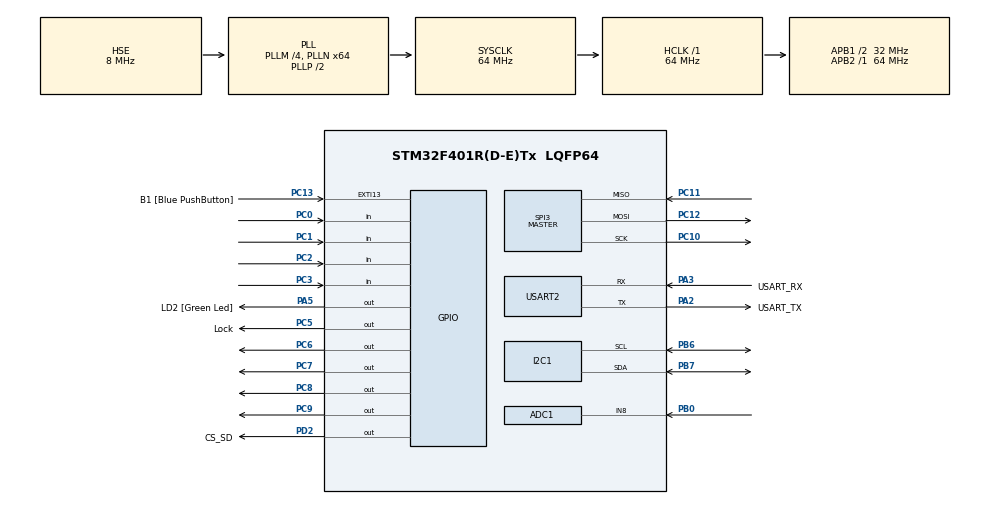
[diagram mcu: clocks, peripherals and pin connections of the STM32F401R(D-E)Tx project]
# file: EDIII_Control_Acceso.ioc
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ADC1.Channel-5\#ChannelRegularConversion=ADC_CHANNEL_8
ADC1.ClockPrescaler=ADC_CLOCK_SYNC_PCLK_DIV8
ADC1.ContinuousConvMode=ENABLE
ADC1.NbrOfConversionFlag=1
ADC1.Rank-5\#ChannelRegularConversion=1
ADC1.SamplingTime-5\#ChannelRegularConversion=ADC_SAMPLETIME_480CYCLES
ADC1.master=1
Dma.ADC1.0.Direction=DMA_PERIPH_TO_MEMORY
Dma.ADC1.0.FIFOMode=DMA_FIFOMODE_DISABLE
Dma.ADC1.0.Instance=DMA2_Stream0
Dma.ADC1.0.MemDataAlignment=DMA_MDATAALIGN_HALFWORD
Dma.ADC1.0.MemInc=DMA_MINC_ENABLE
Dma.ADC1.0.Mode=DMA_NORMAL
Dma.ADC1.0.PeriphDataAlignment=DMA_PDATAALIGN_HALFWORD
Dma.ADC1.0.PeriphInc=DMA_PINC_DISABLE
Dma.ADC1.0.Priority=DMA_PRIORITY_LOW
Dma.Request0=ADC1
FATFS._MAX_SS=4096
FATFS._USE_LFN=3
FREERTOS.INCLUDE_vTaskDelayUntil=1
FREERTOS.Tasks01=defaultTask,0,128,StartDefaultTask,Default,NULL,Dynamic,NULL,NULL
FREERTOS.configENABLE_FPU=1
I2C1.I2C_Mode=I2C_Fast
Mcu.Family=STM32F4
Mcu.Name=STM32F401R(D-E)Tx
Mcu.Package=LQFP64
NVIC.DMA2_Stream0_IRQn=true\:5\:0\:false\:false\:true\:true\:false\:true\:true
NVIC.PriorityGroup=NVIC_PRIORITYGROUP_4
NVIC.TIM2_IRQn=true\:15\:0\:false\:false\:true\:false\:false\:true\:true
NVIC.TimeBase=TIM2_IRQn
NVIC.TimeBaseIP=TIM2
PA13.GPIO_Label=TMS
PA13.Mode=Serial_Wire
PA13.Signal=SYS_JTMS-SWDIO
PA14.GPIO_Label=TCK
PA14.Mode=Serial_Wire
PA14.Signal=SYS_JTCK-SWCLK
PA2.GPIO_Label=USART_TX
PA2.GPIO_Mode=GPIO_MODE_AF_PP
PA2.GPIO_PuPd=GPIO_NOPULL
PA2.GPIO_Speed=GPIO_SPEED_FREQ_LOW
PA2.Mode=Asynchronous
PA2.Signal=USART2_TX
PA3.GPIO_Label=USART_RX
PA3.GPIO_Mode=GPIO_MODE_AF_PP
PA3.GPIO_PuPd=GPIO_NOPULL
PA3.GPIO_Speed=GPIO_SPEED_FREQ_LOW
PA3.Mode=Asynchronous
PA3.Signal=USART2_RX
PA5.GPIO_Label=LD2 [Green Led]
PA5.GPIO_Mode=GPIO_MODE_OUTPUT_PP
PA5.GPIO_PuPd=GPIO_NOPULL
PA5.GPIO_Speed=GPIO_SPEED_FREQ_LOW
PA5.Signal=GPIO_Output
PB0.Signal=ADCx_IN8
PB3.GPIO_Label=SWO
PB3.Signal=SYS_JTDO-SWO
PB6.Mode=I2C
PB6.Signal=I2C1_SCL
PB7.Mode=I2C
PB7.Signal=I2C1_SDA
PC0.GPIO_PuPd=GPIO_PULLDOWN
PC0.Signal=GPIO_Input
PC1.GPIO_PuPd=GPIO_PULLDOWN
PC1.Signal=GPIO_Input
PC10.Mode=Full_Duplex_Master
PC10.Signal=SPI3_SCK
PC11.Mode=Full_Duplex_Master
PC11.Signal=SPI3_MISO
PC12.Mode=Full_Duplex_Master
PC12.Signal=SPI3_MOSI
PC13-ANTI_TAMP.GPIO_Label=B1 [Blue PushButton]
PC13-ANTI_TAMP.GPIO_ModeDefaultEXTI=GPIO_MODE_IT_FALLING
PC13-ANTI_TAMP.GPIO_PuPd=GPIO_NOPULL
PC13-ANTI_TAMP.Signal=GPXTI13
PC14-OSC32_IN.Mode=LSE-External-Oscillator
PC14-OSC32_IN.Signal=RCC_OSC32_IN
PC15-OSC32_OUT.Mode=LSE-External-Oscillator
PC15-OSC32_OUT.Signal=RCC_OSC32_OUT
PC2.GPIO_PuPd=GPIO_PULLDOWN
PC2.Signal=GPIO_Input
PC3.GPIO_PuPd=GPIO_PULLDOWN
PC3.Signal=GPIO_Input
PC5.GPIO_Label=Lock
PC5.Signal=GPIO_Output
PC6.Signal=GPIO_Output
PC7.Signal=GPIO_Output
PC8.Signal=GPIO_Output
PC9.Signal=GPIO_Output
PD2.GPIO_Label=CS_SD
PD2.Signal=GPIO_Output
PH0\ -\ OSC_IN.Mode=HSE-External-Clock-Source
PH0\ -\ OSC_IN.Signal=RCC_OSC_IN
PH1\ -\ OSC_OUT.Mode=HSE-External-Clock-Source
PH1\ -\ OSC_OUT.Signal=RCC_OSC_OUT
ProjectManager.HeapSize=0x200
ProjectManager.StackSize=0x400
ProjectManager.TargetToolchain=STM32CubeIDE
RCC.48MHZClocksFreq_Value=18285714.285714287
RCC.AHBFreq_Value=64000000
RCC.APB1CLKDivider=RCC_HCLK_DIV2
RCC.APB1Freq_Value=32000000
RCC.APB1TimFreq_Value=64000000
RCC.APB2Freq_Value=64000000
RCC.APB2TimFreq_Value=64000000
RCC.CortexFreq_Value=64000000
RCC.HCLKFreq_Value=64000000
RCC.HSE_VALUE=8000000
RCC.HSI_VALUE=16000000
RCC.PLLM=4
RCC.PLLN=64
RCC.PLLQ=7
RCC.PLLSourceVirtual=RCC_PLLSOURCE_HSE
RCC.SYSCLKFreq_VALUE=64000000
RCC.SYSCLKSource=RCC_SYSCLKSOURCE_PLLCLK
RCC.VCOOutputFreq_Value=128000000
RTC.Date=6
RTC.Format=RTC_FORMAT_BIN
RTC.Hours=15
RTC.Month=RTC_MONTH_JULY
RTC.WeekDay=RTC_WEEKDAY_SATURDAY
RTC.Year=24
SH.ADCx_IN8.0=ADC1_IN8,IN8
SPI3.BaudRatePrescaler=SPI_BAUDRATEPRESCALER_8
SPI3.Direction=SPI_DIRECTION_2LINES
SPI3.Mode=SPI_MODE_MASTER
SPI3.VirtualType=VM_MASTER
USART2.VirtualMode=VM_ASYNC
VP_FATFS_VS_Generic.Mode=User_defined
VP_FREERTOS_VS_CMSIS_V1.Mode=CMSIS_V1
VP_RTC_VS_RTC_Activate.Mode=RTC_Enabled
VP_RTC_VS_RTC_Calendar.Mode=RTC_Calendar
VP_SYS_VS_tim2.Mode=TIM2
board=NUCLEO-F401RE

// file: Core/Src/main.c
/* USER CODE BEGIN Header */
/**
  ******************************************************************************
  * @file           : main.c
  * @brief          : Main program body
  ******************************************************************************
  * @attention
  *
  * Copyright (c) 2024 STMicroelectronics.
  * All rights reserved.
  *
  * This software is licensed under terms that can be found in the LICENSE file
  * in the root directory of this software component.
  * If no LICENSE file comes with this software, it is provided AS-IS.
  *
  ******************************************************************************
  */
/* USER CODE END Header */
#include "main.h"
#include "cmsis_os.h"
/* USER CODE BEGIN Includes */
#define ARM_MATH_CM4
#include "arm_math.h"
#include "display_functions.h"
#include "display_manager.h"
#include "input_sequence_scan.h"
#include "user_check_task.h"
/* USER CODE END Includes */

ADC_HandleTypeDef hadc1;
DMA_HandleTypeDef hdma_adc1;

I2C_HandleTypeDef hi2c1;

RTC_HandleTypeDef hrtc;

SPI_HandleTypeDef hspi3;

UART_HandleTypeDef huart2;

/* USER CODE BEGIN PV */
//QueueHandle_t uiQueue;
//QueueHandle_t sequenceQueue;
//QueueHandle_t lockQueue;
QueueHandle_t sequence_queue;
QueueHandle_t display_queue;
/* USER CODE END PV */

void SystemClock_Config(void);
static void MX_GPIO_Init(void);
static void MX_DMA_Init(void);
static void MX_USART2_UART_Init(void);
static void MX_I2C1_Init(void);
static void MX_SPI3_Init(void);
static void MX_RTC_Init(void);
static void MX_ADC1_Init(void);

/* USER CODE BEGIN PFP */
void idle_task(void *pvParameters);
/* USER CODE END PFP */

int main(void)
{

  /* MCU Configuration--------------------------------------------------------*/

  /* Reset of all peripherals, Initializes the Flash interface and the Systick. */
  HAL_Init();

  /* Configure the system clock */
  SystemClock_Config();

  /* Initialize all configured peripherals */
  MX_GPIO_Init();
  MX_DMA_Init();
  MX_USART2_UART_Init();
  MX_I2C1_Init();
  MX_SPI3_Init();
  MX_FATFS_Init();
  MX_RTC_Init();
  MX_ADC1_Init();

  /* USER CODE BEGIN RTOS_QUEUES */
  display_queue = xQueueCreate(1, sizeof(display_state_t));
  sequence_queue = xQueueCreate(6, sizeof(char));
//  uiQueue = xQueueCreate(1, sizeof(eventoDisplay));
//  sequenceQueue = xQueueCreate(6, sizeof(char));
//  lockQueue = xQueueCreate(1, sizeof(lockState));
  /* USER CODE END RTOS_QUEUES */

  /* Create the thread(s) */
  /* definition and creation of defaultTask */

  /* USER CODE BEGIN RTOS_THREADS */
  //xTaskCreate(display_manager, "Tarea 05", configMINIMAL_STACK_SIZE, NULL, tskIDLE_PRIORITY + 4, NULL);
  //xTaskCreate(LockControl, "Tarea 04", configMINIMAL_STACK_SIZE, NULL, tskIDLE_PRIORITY + 3, NULL);
  //xTaskCreate(VoiceProcessing, "Tarea 03", configMINIMAL_STACK_SIZE, NULL, tskIDLE_PRIORITY + 2, NULL);
  //xTaskCreate(user_check_task, "Tarea 02", 10 * configMINIMAL_STACK_SIZE, NULL, tskIDLE_PRIORITY + 2, NULL);
  xTaskCreate(test_task, "Tarea 02", 5 * configMINIMAL_STACK_SIZE, NULL, tskIDLE_PRIORITY + 2, NULL);
  //xTaskCreate(input_sequence_scan, "Tarea 01", configMINIMAL_STACK_SIZE, NULL, tskIDLE_PRIORITY + 1, NULL);
  xTaskCreate(idle_task, "Tarea Idle", configMINIMAL_STACK_SIZE, NULL, tskIDLE_PRIORITY, NULL);
  /* USER CODE END RTOS_THREADS */

  /* Start scheduler */
  vTaskStartScheduler();

  /* We should never get here as control is now taken by the scheduler */

  /* Infinite loop */
  while (1)
  {

  }
}

void SystemClock_Config(void)
{
  RCC_OscInitTypeDef RCC_OscInitStruct = {0};
  RCC_ClkInitTypeDef RCC_ClkInitStruct = {0};

  /** Configure the main internal regulator output voltage
  */
  __HAL_RCC_PWR_CLK_ENABLE();
  __HAL_PWR_VOLTAGESCALING_CONFIG(PWR_REGULATOR_VOLTAGE_SCALE2);

  /** Initializes the RCC Oscillators according to the specified parameters
  * in the RCC_OscInitTypeDef structure.
  */
  RCC_OscInitStruct.OscillatorType = RCC_OSCILLATORTYPE_LSI|RCC_OSCILLATORTYPE_HSE;
  RCC_OscInitStruct.HSEState = RCC_HSE_BYPASS;
  RCC_OscInitStruct.LSIState = RCC_LSI_ON;
  RCC_OscInitStruct.PLL.PLLState = RCC_PLL_ON;
  RCC_OscInitStruct.PLL.PLLSource = RCC_PLLSOURCE_HSE;
  RCC_OscInitStruct.PLL.PLLM = 4;
  RCC_OscInitStruct.PLL.PLLN = 64;
  RCC_OscInitStruct.PLL.PLLP = RCC_PLLP_DIV2;
  RCC_OscInitStruct.PLL.PLLQ = 7;
  if (HAL_RCC_OscConfig(&RCC_OscInitStruct) != HAL_OK)
  {
    Error_Handler();
  }

  /** Initializes the CPU, AHB and APB buses clocks
  */
  RCC_ClkInitStruct.ClockType = RCC_CLOCKTYPE_HCLK|RCC_CLOCKTYPE_SYSCLK
                              |RCC_CLOCKTYPE_PCLK1|RCC_CLOCKTYPE_PCLK2;
  RCC_ClkInitStruct.SYSCLKSource = RCC_SYSCLKSOURCE_PLLCLK;
  RCC_ClkInitStruct.AHBCLKDivider = RCC_SYSCLK_DIV1;
  RCC_ClkInitStruct.APB1CLKDivider = RCC_HCLK_DIV2;
  RCC_ClkInitStruct.APB2CLKDivider = RCC_HCLK_DIV1;

  if (HAL_RCC_ClockConfig(&RCC_ClkInitStruct, FLASH_LATENCY_2) != HAL_OK)
  {
    Error_Handler();
  }
}

static void MX_ADC1_Init(void)
{

  ADC_ChannelConfTypeDef sConfig = {0};

  /** Configure the global features of the ADC (Clock, Resolution, Data Alignment and number of conversion)
  */
  hadc1.Instance = ADC1;
  hadc1.Init.ClockPrescaler = ADC_CLOCK_SYNC_PCLK_DIV8;
  hadc1.Init.Resolution = ADC_RESOLUTION_12B;
  hadc1.Init.ScanConvMode = DISABLE;
  hadc1.Init.ContinuousConvMode = ENABLE;
  hadc1.Init.DiscontinuousConvMode = DISABLE;
  hadc1.Init.ExternalTrigConvEdge = ADC_EXTERNALTRIGCONVEDGE_NONE;
  hadc1.Init.ExternalTrigConv = ADC_SOFTWARE_START;
  hadc1.Init.DataAlign = ADC_DATAALIGN_RIGHT;
  hadc1.Init.NbrOfConversion = 1;
  hadc1.Init.DMAContinuousRequests = DISABLE;
  hadc1.Init.EOCSelection = ADC_EOC_SINGLE_CONV;
  if (HAL_ADC_Init(&hadc1) != HAL_OK)
  {
    Error_Handler();
  }

  /** Configure for the selected ADC regular channel its corresponding rank in the sequencer and its sample time.
  */
  sConfig.Channel = ADC_CHANNEL_8;
  sConfig.Rank = 1;
  sConfig.SamplingTime = ADC_SAMPLETIME_480CYCLES;
  if (HAL_ADC_ConfigChannel(&hadc1, &sConfig) != HAL_OK)
  {
    Error_Handler();
  }

}

static void MX_I2C1_Init(void)
{

  hi2c1.Instance = I2C1;
  hi2c1.Init.ClockSpeed = 400000;
  hi2c1.Init.DutyCycle = I2C_DUTYCYCLE_2;
  hi2c1.Init.OwnAddress1 = 0;
  hi2c1.Init.AddressingMode = I2C_ADDRESSINGMODE_7BIT;
  hi2c1.Init.DualAddressMode = I2C_DUALADDRESS_DISABLE;
  hi2c1.Init.OwnAddress2 = 0;
  hi2c1.Init.GeneralCallMode = I2C_GENERALCALL_DISABLE;
  hi2c1.Init.NoStretchMode = I2C_NOSTRETCH_DISABLE;
  if (HAL_I2C_Init(&hi2c1) != HAL_OK)
  {
    Error_Handler();
  }

}

static void MX_RTC_Init(void)
{

  RTC_TimeTypeDef sTime = {0};
  RTC_DateTypeDef sDate = {0};

  /** Initialize RTC Only
  */
  hrtc.Instance = RTC;
  hrtc.Init.HourFormat = RTC_HOURFORMAT_24;
  hrtc.Init.AsynchPrediv = 127;
  hrtc.Init.SynchPrediv = 255;
  hrtc.Init.OutPut = RTC_OUTPUT_DISABLE;
  hrtc.Init.OutPutPolarity = RTC_OUTPUT_POLARITY_HIGH;
  hrtc.Init.OutPutType = RTC_OUTPUT_TYPE_OPENDRAIN;
  if (HAL_RTC_Init(&hrtc) != HAL_OK)
  {
    Error_Handler();
  }

  /** Initialize RTC and set the Time and Date
  */
  sTime.Hours = 15;
  sTime.Minutes = 0;
  sTime.Seconds = 0;
  sTime.DayLightSaving = RTC_DAYLIGHTSAVING_NONE;
  sTime.StoreOperation = RTC_STOREOPERATION_RESET;
  if (HAL_RTC_SetTime(&hrtc, &sTime, RTC_FORMAT_BIN) != HAL_OK)
  {
    Error_Handler();
  }
  sDate.WeekDay = RTC_WEEKDAY_SATURDAY;
  sDate.Month = RTC_MONTH_JULY;
  sDate.Date = 6;
  sDate.Year = 24;

  if (HAL_RTC_SetDate(&hrtc, &sDate, RTC_FORMAT_BIN) != HAL_OK)
  {
    Error_Handler();
  }

}

static void MX_SPI3_Init(void)
{

  /* SPI3 parameter configuration*/
  hspi3.Instance = SPI3;
  hspi3.Init.Mode = SPI_MODE_MASTER;
  hspi3.Init.Direction = SPI_DIRECTION_2LINES;
  hspi3.Init.DataSize = SPI_DATASIZE_8BIT;
  hspi3.Init.CLKPolarity = SPI_POLARITY_LOW;
  hspi3.Init.CLKPhase = SPI_PHASE_1EDGE;
  hspi3.Init.NSS = SPI_NSS_SOFT;
  hspi3.Init.BaudRatePrescaler = SPI_BAUDRATEPRESCALER_8;
  hspi3.Init.FirstBit = SPI_FIRSTBIT_MSB;
  hspi3.Init.TIMode = SPI_TIMODE_DISABLE;
  hspi3.Init.CRCCalculation = SPI_CRCCALCULATION_DISABLE;
  hspi3.Init.CRCPolynomial = 10;
  if (HAL_SPI_Init(&hspi3) != HAL_OK)
  {
    Error_Handler();
  }

}

static void MX_USART2_UART_Init(void)
{

  huart2.Instance = USART2;
  huart2.Init.BaudRate = 115200;
  huart2.Init.WordLength = UART_WORDLENGTH_8B;
  huart2.Init.StopBits = UART_STOPBITS_1;
  huart2.Init.Parity = UART_PARITY_NONE;
  huart2.Init.Mode = UART_MODE_TX_RX;
  huart2.Init.HwFlowCtl = UART_HWCONTROL_NONE;
  huart2.Init.OverSampling = UART_OVERSAMPLING_16;
  if (HAL_UART_Init(&huart2) != HAL_OK)
  {
    Error_Handler();
  }

}

static void MX_DMA_Init(void)
{

  /* DMA controller clock enable */
  __HAL_RCC_DMA2_CLK_ENABLE();

  /* DMA interrupt init */
  /* DMA2_Stream0_IRQn interrupt configuration */
  HAL_NVIC_SetPriority(DMA2_Stream0_IRQn, 5, 0);
  HAL_NVIC_EnableIRQ(DMA2_Stream0_IRQn);

}

static void MX_GPIO_Init(void)
{
  GPIO_InitTypeDef GPIO_InitStruct = {0};

  /* GPIO Ports Clock Enable */
  __HAL_RCC_GPIOC_CLK_ENABLE();
  __HAL_RCC_GPIOH_CLK_ENABLE();
  __HAL_RCC_GPIOA_CLK_ENABLE();
  __HAL_RCC_GPIOB_CLK_ENABLE();
  __HAL_RCC_GPIOD_CLK_ENABLE();

  /*Configure GPIO pin Output Level */
  HAL_GPIO_WritePin(LD2_GPIO_Port, LD2_Pin, GPIO_PIN_RESET);

  /*Configure GPIO pin Output Level */
  HAL_GPIO_WritePin(GPIOC, Lock_Pin|GPIO_PIN_6|GPIO_PIN_7|GPIO_PIN_8
                          |GPIO_PIN_9, GPIO_PIN_RESET);

  /*Configure GPIO pin Output Level */
  HAL_GPIO_WritePin(CS_SD_GPIO_Port, CS_SD_Pin, GPIO_PIN_RESET);

  /*Configure GPIO pin : B1_Pin */
  GPIO_InitStruct.Pin = B1_Pin;
  GPIO_InitStruct.Mode = GPIO_MODE_IT_FALLING;
  GPIO_InitStruct.Pull = GPIO_NOPULL;
  HAL_GPIO_Init(B1_GPIO_Port, &GPIO_InitStruct);

  /*Configure GPIO pins : PC0 PC1 PC2 PC3 */
  GPIO_InitStruct.Pin = GPIO_PIN_0|GPIO_PIN_1|GPIO_PIN_2|GPIO_PIN_3;
  GPIO_InitStruct.Mode = GPIO_MODE_INPUT;
  GPIO_InitStruct.Pull = GPIO_PULLDOWN;
  HAL_GPIO_Init(GPIOC, &GPIO_InitStruct);

  /*Configure GPIO pin : LD2_Pin */
  GPIO_InitStruct.Pin = LD2_Pin;
  GPIO_InitStruct.Mode = GPIO_MODE_OUTPUT_PP;
  GPIO_InitStruct.Pull = GPIO_NOPULL;
  GPIO_InitStruct.Speed = GPIO_SPEED_FREQ_LOW;
  HAL_GPIO_Init(LD2_GPIO_Port, &GPIO_InitStruct);

  /*Configure GPIO pins : Lock_Pin PC6 PC7 PC8
                           PC9 */
  GPIO_InitStruct.Pin = Lock_Pin|GPIO_PIN_6|GPIO_PIN_7|GPIO_PIN_8
                          |GPIO_PIN_9;
  GPIO_InitStruct.Mode = GPIO_MODE_OUTPUT_PP;
  GPIO_InitStruct.Pull = GPIO_NOPULL;
  GPIO_InitStruct.Speed = GPIO_SPEED_FREQ_LOW;
  HAL_GPIO_Init(GPIOC, &GPIO_InitStruct);

  /*Configure GPIO pin : CS_SD_Pin */
  GPIO_InitStruct.Pin = CS_SD_Pin;
  GPIO_InitStruct.Mode = GPIO_MODE_OUTPUT_PP;
  GPIO_InitStruct.Pull = GPIO_NOPULL;
  GPIO_InitStruct.Speed = GPIO_SPEED_FREQ_LOW;
  HAL_GPIO_Init(CS_SD_GPIO_Port, &GPIO_InitStruct);

}

/* USER CODE BEGIN 4 */
void idle_task(void *pvParameters){
	while(1);
}
/* USER CODE END 4 */

void HAL_TIM_PeriodElapsedCallback(TIM_HandleTypeDef *htim)
{
  if (htim->Instance == TIM2) {
    HAL_IncTick();
  }
}

void HAL_ADC_ConvCpltCallback(ADC_HandleTypeDef* hadc) {
	HAL_ADC_Stop_DMA(&hadc1);
}

void Error_Handler(void)
{
  __disable_irq();
  while (1)
  {
  }
}
